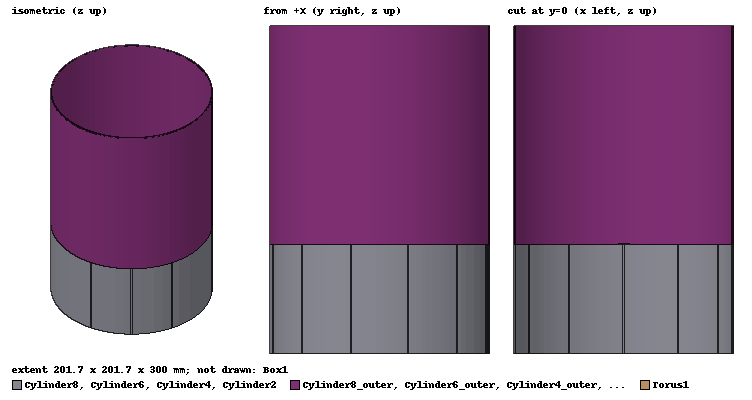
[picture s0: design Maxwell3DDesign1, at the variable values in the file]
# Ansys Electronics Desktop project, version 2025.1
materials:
  vacuum: permittivity=1
  ferrite: permittivity=12 permeability=1000 conductivity=0.01
  copper: permeability=0.999991 conductivity=58000000

design Maxwell3DDesign1 (Maxwell 3D, Magnetostatic, model units mm)
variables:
  Rin = 100mm
  H = 200mm
  Iexc = 1mA
  a = 0.15mm
  g = 0.08mm
  T = 0.84mm
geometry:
  Cylinder1 = cylinder(axis=Z, base_centre=(0mm, 0mm, -H/2), radius=Rin, height=H)
  Cylinder2 [ferrite] = cylinder(axis=Z, base_centre=(0mm, 0mm, -H/2), radius=Rin+a, height=H)
  Cylinder2.subtract(Cylinder1)
  Cylinder3 = cylinder(axis=Z, base_centre=(0mm, 0mm, -H/2), radius=Rin+a+g, height=H)
  Cylinder4 [ferrite] = cylinder(axis=Z, base_centre=(0mm, 0mm, -H/2), radius=Rin+2*a+g, height=H)
  Cylinder4.subtract(Cylinder3)
  Torus1 [copper] = torus(axis=Z, centre=(0mm, 0mm, 0mm), major_radius=5mm, minor_radius=0.5mm)
  Torus1_Section1 [copper] = Torus1.section(plane=YZ)
  Torus1_Section1.separate_bodies()
  Box1 [vacuum] = box(corner=(-400mm, -400mm, -400mm), size=(800mm, 800mm, 800mm))
  Cylinder5 = cylinder(axis=Z, base_centre=(0mm, 0mm, -H/2), radius=Rin+2*a+2*g, height=H)
  Cylinder6 [ferrite] = cylinder(axis=Z, base_centre=(0mm, 0mm, -H/2), radius=Rin+3*a+2*g, height=H)
  Cylinder6.subtract(Cylinder5)
  Cylinder7 = cylinder(axis=Z, base_centre=(0mm, 0mm, -H/2), radius=Rin+3*a+3*g, height=H)
  Cylinder8 [ferrite] = cylinder(axis=Z, base_centre=(0mm, 0mm, -H/2), radius=Rin+4*a+3*g, height=H)
  Cylinder8.subtract(Cylinder7)
  point BcenterPoint_0_0_0 = (0, 0, 0)
  point BcenterPoint_0_0_0_1 = (0, 0, 0)
  point BcenterPoint_0_0_0_2 = (0, 0, 0)
  point BcenterPoint_0_0_0_3 = (0, 0, 0)
  Cylinder2_outer [ferrite] = cylinder(axis=Z, base_centre=(0mm, 0mm, 0mm), radius=100.15mm, height=200mm)
  Cylinder2_inner = cylinder(axis=Z, base_centre=(0mm, 0mm, 0mm), radius=100mm, height=200mm)
  Cylinder2_outer.subtract(Cylinder2_inner)
  gap_L1_s1 = box(corner=(98mm, -0.8mm, -101mm), size=(4.15mm, 1.6mm, 202mm))
  gap_L1_s1.rotate(axis=Z, angle=0deg)
  gap_L1_s2 = box(corner=(98mm, -0.8mm, -101mm), size=(4.15mm, 1.6mm, 202mm))
  gap_L1_s2.rotate(axis=Z, angle=30deg)
  gap_L1_s3 = box(corner=(98mm, -0.8mm, -101mm), size=(4.15mm, 1.6mm, 202mm))
  gap_L1_s3.rotate(axis=Z, angle=60deg)
  gap_L1_s4 = box(corner=(98mm, -0.8mm, -101mm), size=(4.15mm, 1.6mm, 202mm))
  gap_L1_s4.rotate(axis=Z, angle=90deg)
  gap_L1_s5 = box(corner=(98mm, -0.8mm, -101mm), size=(4.15mm, 1.6mm, 202mm))
  gap_L1_s5.rotate(axis=Z, angle=120deg)
  gap_L1_s6 = box(corner=(98mm, -0.8mm, -101mm), size=(4.15mm, 1.6mm, 202mm))
  gap_L1_s6.rotate(axis=Z, angle=150deg)
  gap_L1_s7 = box(corner=(98mm, -0.8mm, -101mm), size=(4.15mm, 1.6mm, 202mm))
  gap_L1_s7.rotate(axis=Z, angle=180deg)
  gap_L1_s8 = box(corner=(98mm, -0.8mm, -101mm), size=(4.15mm, 1.6mm, 202mm))
  gap_L1_s8.rotate(axis=Z, angle=210deg)
  gap_L1_s9 = box(corner=(98mm, -0.8mm, -101mm), size=(4.15mm, 1.6mm, 202mm))
  gap_L1_s9.rotate(axis=Z, angle=240deg)
  gap_L1_s10 = box(corner=(98mm, -0.8mm, -101mm), size=(4.15mm, 1.6mm, 202mm))
  gap_L1_s10.rotate(axis=Z, angle=270deg)
  gap_L1_s11 = box(corner=(98mm, -0.8mm, -101mm), size=(4.15mm, 1.6mm, 202mm))
  gap_L1_s11.rotate(axis=Z, angle=300deg)
  gap_L1_s12 = box(corner=(98mm, -0.8mm, -101mm), size=(4.15mm, 1.6mm, 202mm))
  gap_L1_s12.rotate(axis=Z, angle=330deg)
  Cylinder2.subtract(gap_L1_s1..gap_L1_s12)
  Cylinder4_outer [ferrite] = cylinder(axis=Z, base_centre=(0mm, 0mm, 0mm), radius=100.38mm, height=200mm)
  Cylinder4_inner = cylinder(axis=Z, base_centre=(0mm, 0mm, 0mm), radius=100.23mm, height=200mm)
  Cylinder4_outer.subtract(Cylinder4_inner)
  gap_L2_s1 = box(corner=(98.23mm, -0.8mm, -101mm), size=(4.15mm, 1.6mm, 202mm))
  gap_L2_s1.rotate(axis=Z, angle=15deg)
  gap_L2_s2 = box(corner=(98.23mm, -0.8mm, -101mm), size=(4.15mm, 1.6mm, 202mm))
  gap_L2_s2.rotate(axis=Z, angle=45deg)
  gap_L2_s3 = box(corner=(98.23mm, -0.8mm, -101mm), size=(4.15mm, 1.6mm, 202mm))
  gap_L2_s3.rotate(axis=Z, angle=75deg)
  gap_L2_s4 = box(corner=(98.23mm, -0.8mm, -101mm), size=(4.15mm, 1.6mm, 202mm))
  gap_L2_s4.rotate(axis=Z, angle=105deg)
  gap_L2_s5 = box(corner=(98.23mm, -0.8mm, -101mm), size=(4.15mm, 1.6mm, 202mm))
  gap_L2_s5.rotate(axis=Z, angle=135deg)
  gap_L2_s6 = box(corner=(98.23mm, -0.8mm, -101mm), size=(4.15mm, 1.6mm, 202mm))
  gap_L2_s6.rotate(axis=Z, angle=165deg)
  gap_L2_s7 = box(corner=(98.23mm, -0.8mm, -101mm), size=(4.15mm, 1.6mm, 202mm))
  gap_L2_s7.rotate(axis=Z, angle=195deg)
  gap_L2_s8 = box(corner=(98.23mm, -0.8mm, -101mm), size=(4.15mm, 1.6mm, 202mm))
  gap_L2_s8.rotate(axis=Z, angle=225deg)
  gap_L2_s9 = box(corner=(98.23mm, -0.8mm, -101mm), size=(4.15mm, 1.6mm, 202mm))
  gap_L2_s9.rotate(axis=Z, angle=255deg)
  gap_L2_s10 = box(corner=(98.23mm, -0.8mm, -101mm), size=(4.15mm, 1.6mm, 202mm))
  gap_L2_s10.rotate(axis=Z, angle=285deg)
  gap_L2_s11 = box(corner=(98.23mm, -0.8mm, -101mm), size=(4.15mm, 1.6mm, 202mm))
  gap_L2_s11.rotate(axis=Z, angle=315deg)
  gap_L2_s12 = box(corner=(98.23mm, -0.8mm, -101mm), size=(4.15mm, 1.6mm, 202mm))
  gap_L2_s12.rotate(axis=Z, angle=345deg)
  Cylinder4.subtract(gap_L2_s1..gap_L2_s12)
  Cylinder6_outer [ferrite] = cylinder(axis=Z, base_centre=(0mm, 0mm, 0mm), radius=100.61mm, height=200mm)
  Cylinder6_inner = cylinder(axis=Z, base_centre=(0mm, 0mm, 0mm), radius=100.46mm, height=200mm)
  Cylinder6_outer.subtract(Cylinder6_inner)
  gap_L3_s1 = box(corner=(98.46mm, -0.8mm, -101mm), size=(4.15mm, 1.6mm, 202mm))
  gap_L3_s1.rotate(axis=Z, angle=0deg)
  gap_L3_s2 = box(corner=(98.46mm, -0.8mm, -101mm), size=(4.15mm, 1.6mm, 202mm))
  gap_L3_s2.rotate(axis=Z, angle=30deg)
  gap_L3_s3 = box(corner=(98.46mm, -0.8mm, -101mm), size=(4.15mm, 1.6mm, 202mm))
  gap_L3_s3.rotate(axis=Z, angle=60deg)
  gap_L3_s4 = box(corner=(98.46mm, -0.8mm, -101mm), size=(4.15mm, 1.6mm, 202mm))
  gap_L3_s4.rotate(axis=Z, angle=90deg)
  gap_L3_s5 = box(corner=(98.46mm, -0.8mm, -101mm), size=(4.15mm, 1.6mm, 202mm))
  gap_L3_s5.rotate(axis=Z, angle=120deg)
  gap_L3_s6 = box(corner=(98.46mm, -0.8mm, -101mm), size=(4.15mm, 1.6mm, 202mm))
  gap_L3_s6.rotate(axis=Z, angle=150deg)
  gap_L3_s7 = box(corner=(98.46mm, -0.8mm, -101mm), size=(4.15mm, 1.6mm, 202mm))
  gap_L3_s7.rotate(axis=Z, angle=180deg)
  gap_L3_s8 = box(corner=(98.46mm, -0.8mm, -101mm), size=(4.15mm, 1.6mm, 202mm))
  gap_L3_s8.rotate(axis=Z, angle=210deg)
  gap_L3_s9 = box(corner=(98.46mm, -0.8mm, -101mm), size=(4.15mm, 1.6mm, 202mm))
  gap_L3_s9.rotate(axis=Z, angle=240deg)
  gap_L3_s10 = box(corner=(98.46mm, -0.8mm, -101mm), size=(4.15mm, 1.6mm, 202mm))
  gap_L3_s10.rotate(axis=Z, angle=270deg)
  gap_L3_s11 = box(corner=(98.46mm, -0.8mm, -101mm), size=(4.15mm, 1.6mm, 202mm))
  gap_L3_s11.rotate(axis=Z, angle=300deg)
  gap_L3_s12 = box(corner=(98.46mm, -0.8mm, -101mm), size=(4.15mm, 1.6mm, 202mm))
  gap_L3_s12.rotate(axis=Z, angle=330deg)
  Cylinder6.subtract(gap_L3_s1..gap_L3_s12)
  Cylinder8_outer [ferrite] = cylinder(axis=Z, base_centre=(0mm, 0mm, 0mm), radius=100.84mm, height=200mm)
  Cylinder8_inner = cylinder(axis=Z, base_centre=(0mm, 0mm, 0mm), radius=100.69mm, height=200mm)
  Cylinder8_outer.subtract(Cylinder8_inner)
  gap_L4_s1 = box(corner=(98.69mm, -0.8mm, -101mm), size=(4.15mm, 1.6mm, 202mm))
  gap_L4_s1.rotate(axis=Z, angle=15deg)
  gap_L4_s2 = box(corner=(98.69mm, -0.8mm, -101mm), size=(4.15mm, 1.6mm, 202mm))
  gap_L4_s2.rotate(axis=Z, angle=45deg)
  gap_L4_s3 = box(corner=(98.69mm, -0.8mm, -101mm), size=(4.15mm, 1.6mm, 202mm))
  gap_L4_s3.rotate(axis=Z, angle=75deg)
  gap_L4_s4 = box(corner=(98.69mm, -0.8mm, -101mm), size=(4.15mm, 1.6mm, 202mm))
  gap_L4_s4.rotate(axis=Z, angle=105deg)
  gap_L4_s5 = box(corner=(98.69mm, -0.8mm, -101mm), size=(4.15mm, 1.6mm, 202mm))
  gap_L4_s5.rotate(axis=Z, angle=135deg)
  gap_L4_s6 = box(corner=(98.69mm, -0.8mm, -101mm), size=(4.15mm, 1.6mm, 202mm))
  gap_L4_s6.rotate(axis=Z, angle=165deg)
  gap_L4_s7 = box(corner=(98.69mm, -0.8mm, -101mm), size=(4.15mm, 1.6mm, 202mm))
  gap_L4_s7.rotate(axis=Z, angle=195deg)
  gap_L4_s8 = box(corner=(98.69mm, -0.8mm, -101mm), size=(4.15mm, 1.6mm, 202mm))
  gap_L4_s8.rotate(axis=Z, angle=225deg)
  gap_L4_s9 = box(corner=(98.69mm, -0.8mm, -101mm), size=(4.15mm, 1.6mm, 202mm))
  gap_L4_s9.rotate(axis=Z, angle=255deg)
  gap_L4_s10 = box(corner=(98.69mm, -0.8mm, -101mm), size=(4.15mm, 1.6mm, 202mm))
  gap_L4_s10.rotate(axis=Z, angle=285deg)
  gap_L4_s11 = box(corner=(98.69mm, -0.8mm, -101mm), size=(4.15mm, 1.6mm, 202mm))
  gap_L4_s11.rotate(axis=Z, angle=315deg)
  gap_L4_s12 = box(corner=(98.69mm, -0.8mm, -101mm), size=(4.15mm, 1.6mm, 202mm))
  gap_L4_s12.rotate(axis=Z, angle=345deg)
  Cylinder8.subtract(gap_L4_s1..gap_L4_s12)
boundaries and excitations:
  B0x_TH_101: Tangential H Field Faces=Box1.face(-y) ComponentXReal=1 ComponentYReal=0 CoordSysVector{(0, -400, 0) -> (10mm, -400mm, 0mm)}
  B0x_TH_103: Tangential H Field Faces=Box1.face(+y) ComponentXReal=1 ComponentYReal=0 CoordSysVector{(0, 400, 0) -> (10mm, 400mm, 0mm)}
  B0x_TH_99: Tangential H Field Faces=Box1.face(+z) ComponentXReal=1 ComponentYReal=0 CoordSysVector{(0, 0, 400) -> (10mm, 0mm, 400mm)}
  B0x_TH_100: Tangential H Field Faces=Box1.face(-z) ComponentXReal=1 ComponentYReal=0 CoordSysVector{(0, 0, -400) -> (10mm, 0mm, -400mm)}
  B0x_open_flux_faces: Zero Tangential H Field Faces=Box1.face(-x, +x)
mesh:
  Length1: LengthBased Objects=[Cylinder8, Cylinder6, Cylinder2, Cylinder4] NumMaxElem=2000 MaxLength=50mm
  Length2: LengthBased RefineInside Objects=[Cylinder8, Cylinder6, Cylinder4, Cylinder2] NumMaxElem=2000 MaxLength=50mm
  Length_surf_Cylinder2: LengthBased Objects=Cylinder2 NumMaxElem=2000 MaxLength=0.05mm
  Length_vol_Cylinder2: LengthBased RefineInside Objects=Cylinder2 NumMaxElem=2000 MaxLength=0.05mm
  Length_surf_Cylinder4: LengthBased Objects=Cylinder4 NumMaxElem=2000 MaxLength=0.05mm
  Length_vol_Cylinder4: LengthBased RefineInside Objects=Cylinder4 NumMaxElem=2000 MaxLength=0.05mm
  Length_surf_Cylinder6: LengthBased Objects=Cylinder6 NumMaxElem=2000 MaxLength=0.05mm
  Length_vol_Cylinder6: LengthBased RefineInside Objects=Cylinder6 NumMaxElem=2000 MaxLength=0.05mm
  Length_surf_Cylinder8: LengthBased Objects=Cylinder8 NumMaxElem=2000 MaxLength=0.05mm
  Length_vol_Cylinder8: LengthBased RefineInside Objects=Cylinder8 NumMaxElem=2000 MaxLength=0.05mm
  initial mesh: GlobalCurvilinear{Apply}
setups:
  Setup1: Magnetostatic MaximumPasses=10 MinimumPasses=2 MinimumConvergedPasses=1 PercentRefinement=30 PercentError=1 NonLinearResidual=0.001
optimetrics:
  P_asweep1: Parametric Sim._Setups=[Setup1]
    sweep a: 0.5mm
    table edits: add(0.8mm) add(1.0mm) add(1.2mm) add(1.5mm) add(2.0mm)
    calculate IntH2_total on Setup1 : LastAdaptive
    calculate IntH2_s1 on Setup1 : LastAdaptive
    calculate IntH2_s2 on Setup1 : LastAdaptive
    calculate IntH2_s3 on Setup1 : LastAdaptive
    calculate InH2_s4 on Setup1 : LastAdaptive
  P_Tcompare1: Parametric Sim._Setups=[Setup1]
    sweep T: 5mm
    table edits: add(8mm) add(10mm)
    calculate IntH2_total on Setup1 : LastAdaptive
    calculate IntH2_s1 on Setup1 : LastAdaptive
    calculate IntH2_s2 on Setup1 : LastAdaptive
    calculate IntH2_s3 on Setup1 : LastAdaptive
    calculate InH2_s4 on Setup1 : LastAdaptive
  P_agmatrix_4ceng_T1: Parametric Sim._Setups=[Setup1]
    sweep a: 0.5mm
    sweep g: 0.2mm
    sweep T: 2.60mm
    table edits: add(0.5mm, 0.5mm, 3.50mm) add(0.5mm, 1.0mm, 5.00mm) add(0.5mm, 1.5mm, 6.50mm) add(1.0mm, 0.2mm, 4.60mm) add(1.0mm, 0.5mm, 5.50mm) add(1.0mm, 1.0mm, 7.00mm) add(1.0mm, 1.5mm, 8.50mm) add(1.5mm, 0.2mm, 6.60mm) add(1.5mm, 0.5mm, 7.50mm) add(1.5mm, 1.0mm, 9.00mm) add(2.0mm, 0.2mm, 8.60mm) add(2.0mm, 0.5mm, 9.50mm)
    calculate IntH2_total on Setup1 : LastAdaptive
    calculate IntH2_s1 on Setup1 : LastAdaptive
    calculate IntH2_s2 on Setup1 : LastAdaptive
    calculate IntH2_s3 on Setup1 : LastAdaptive
    calculate InH2_s4 on Setup1 : LastAdaptive
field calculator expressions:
  IntH2_cyl2 = Mag_H | Mag_H | * | EnterVolume(Cylinder2) | VolumeValue | Integrate
  IntH2_cyl4 = Mag_H | Mag_H | * | EnterVolume(Cylinder4) | VolumeValue | Integrate
  IntH2_s1 = Mag_H | Mag_H | * | EnterVolume(Cylinder2) | VolumeValue | Integrate
  IntH2_s2 = Mag_H | Mag_H | * | EnterVolume(Cylinder4) | VolumeValue | Integrate
  IntH2_s3 = Mag_H | Mag_H | * | EnterVolume(Cylinder6) | VolumeValue | Integrate
  IntH2_intotal = IntH2_s1 | IntH2_s2 | + | IntH2_s3 | +
  InH2_s4 = Mag_H | Mag_H | * | EnterVolume(Cylinder8) | VolumeValue | Integrate
  IntH2_total = IntH2_s1 | IntH2_s2 | + | IntH2_s3 | + | InH2_s4 | +
